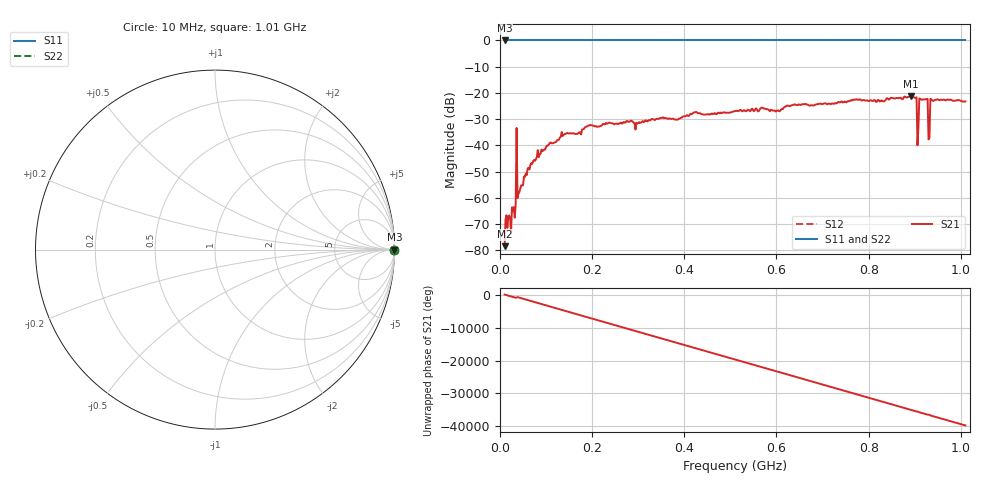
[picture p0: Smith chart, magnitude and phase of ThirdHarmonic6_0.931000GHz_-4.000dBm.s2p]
! 8/16/2025 6:20:33 AM
! C:\ANRITSUVNA\TEMP\TEMP.S2P
! CHANNEL.1
! TR.MEASUREMENT
! RAW.DATA
! RF.CORRECTION.OFF
! AVERAGING.OFF
! IF.BANDWIDTH: 5KHZ
! SWEEPTYPE:  FREQ.SWEEP(Linear)
! Reference Plane Port Info
! PORT:  PORT1  PORT2
! DISTANCE:  0  m  0  m
! TIME:  0  s  0  s
! PHASE.OFFSET:  0  deg.  0  deg.
! LOSS:  0  dB  0  dB
! REF.LOSS:  0  dB  0  dB
! REF.FREQ:  0  Hz  0  Hz
! Power Info
! POWER:  -20  dBm  -20  dBm
! EFF.POWER:  -20  dBm  -20  dBm
! SOURCE.ATTEN:  0  dB  0  dB
! TEST.ATTEN:  0  dB  0  dB
# GHZ S RI R 50.0
! FREQ.GHZ  S11RE  S11IM  S21RE  S21IM  S12RE  S12IM  S22RE  S22IM
!; PortSelection: Port_12
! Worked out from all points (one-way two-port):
!   501 points, 10 MHz to 1.01 GHz, reference 50 ohm
!   highest |S21| = -21.27 dB at 892 MHz (marker M1); lowest = -78.5 dB at 10 MHz (marker M2)
!   lowest |S11| = 0.0 dB at 10 MHz (marker M3)
!   |S11| at or under -10 dB: nowhere
!   |S22| runs from 0.0 to 0.0 dB; largest |S21 - S12| = 1.1
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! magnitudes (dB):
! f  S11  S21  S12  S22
! 10 MHz  0.0  -78.5  0.0  0.0
! 16 MHz  0.0  -71.4  0.0  0.0
! 28 MHz  0.0  -65.2  0.0  0.0
! 32 MHz  0.0  -67.6  0.0  0.0
! 40 MHz  0.0  -58.5  0.0  0.0
! 42 MHz  0.0  -57.8  0.0  0.0
! 64 MHz  0.0  -49.2  0.0  0.0
! 106 MHz  0.0  -39.7  0.0  0.0
! 178 MHz  0.0  -34.0  0.0  0.0
! 344 MHz  0.0  -29.9  0.0  0.0
! 510 MHz  0.0  -26.9  0.0  0.0
! 678 MHz  0.0  -24.7  0.0  0.0
! 844 MHz  0.0  -22.6  0.0  0.0
! 892 MHz  0.0  -21.3  0.0  0.0
! 900 MHz  0.0  -21.8  0.0  0.0
! 910 MHz  0.0  -22.1  0.0  0.0
! 914 MHz  0.0  -22.5  0.0  0.0
! 924 MHz  0.0  -22.3  0.0  0.0
! 928 MHz  0.0  -22.3  0.0  0.0
! 934 MHz  0.0  -22.3  0.0  0.0
! 938 MHz  0.0  -22.8  0.0  0.0
! 1.01 GHz  0.0  -23.3  0.0  0.0
